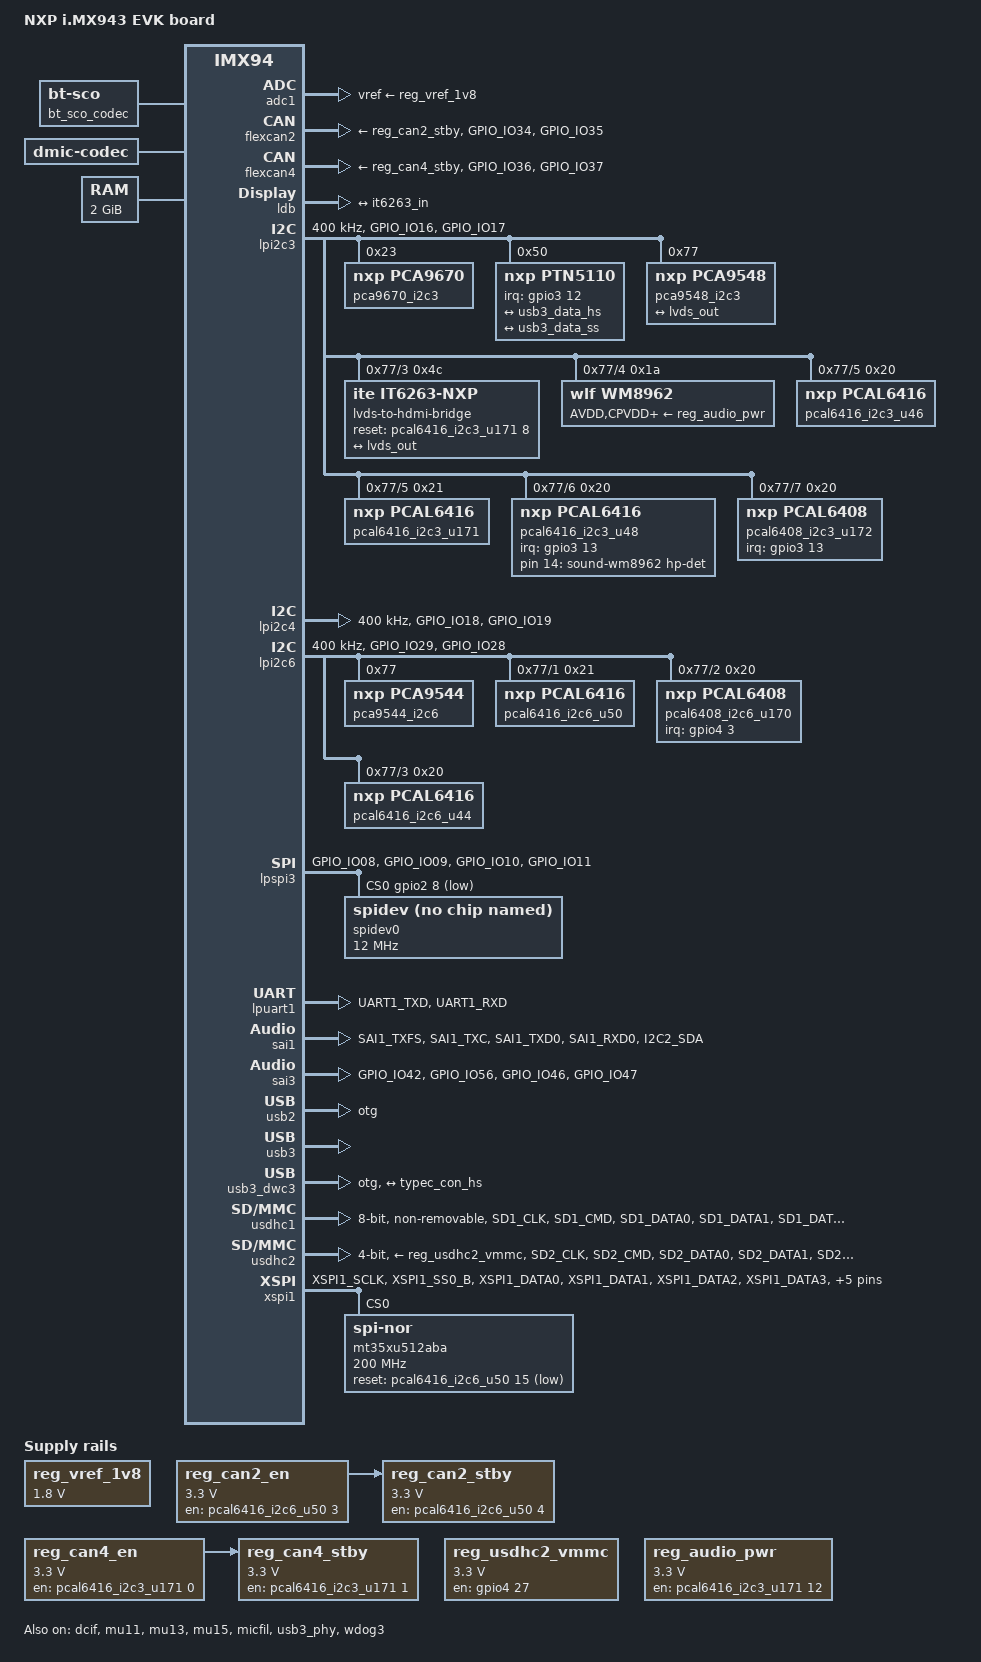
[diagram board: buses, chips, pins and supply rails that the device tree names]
// SPDX-License-Identifier: (GPL-2.0+ OR MIT)
/*
 * Copyright 2024-2025 NXP
 */

/dts-v1/;

#include "imx943.dtsi"
#include <dt-bindings/usb/pd.h>

#define BRD_SM_CTRL_BT_WAKE		0x8000  /*!< PCAL6416A-3 */
#define BRD_SM_CTRL_SD3_WAKE		0x8001  /*!< PCAL6416A-4 */
#define BRD_SM_CTRL_PCIE1_WAKE		0x8002  /*!< PCAL6416A-5 */
#define BRD_SM_CTRL_PCIE2_WAKE		0x8003  /*!< PCAL6416A-6 */
#define BRD_SM_CTRL_BUTTON		0x8004  /*!< PCAL6416A-7 */

/ {
	compatible = "fsl,imx943-evk", "fsl,imx94";
	model = "NXP i.MX943 EVK board";

	aliases {
		i2c2 = &lpi2c3;
		i2c3 = &lpi2c4;
		i2c5 = &lpi2c6;
		mmc0 = &usdhc1;
		mmc1 = &usdhc2;
		serial0 = &lpuart1;
	};

	bt_sco_codec: bt-sco-codec {
		compatible = "linux,bt-sco";
		#sound-dai-cells = <1>;
	};

	chosen {
		stdout-path = &lpuart1;
	};

	cm70: imx943-cm70 {
		compatible = "fsl,imx94-cm7";
		mbox-names = "tx", "rx", "rxdb";
		mboxes = <&mu11 0 1
			  &mu11 1 1
			  &mu11 3 1>;
		memory-region = <&cm70_vdevbuffer>, <&cm70_vdev0vring0>, <&cm70_vdev0vring1>,
				<&cm70_vdev1vring0>, <&cm70_vdev1vring1>, <&cm70_rsc_table>;
		fsl,startup-delay-ms = <50>;
		fsl,core-index = <0x1>;
		/* cpuid and lmmid must align with SM firmware */
		fsl,cpu-id = <1>;
		fsl,lmm-id = <2>;
		status = "okay";
	};

	cm71: imx943-cm71 {
		compatible = "fsl,imx94-cm7";
		mbox-names = "tx", "rx", "rxdb";
		mboxes = <&mu13 0 1
			  &mu13 1 1
			  &mu13 3 1>;
		memory-region = <&cm71_vdevbuffer>, <&cm71_vdev0vring0>, <&cm71_vdev0vring1>,
				<&cm71_vdev1vring0>, <&cm71_vdev1vring1>, <&cm71_rsc_table>;
		fsl,startup-delay-ms = <50>;
		fsl,core-index = <0x7>;
		/* cpuid and lmmid must align with SM firmware */
		fsl,cpu-id = <7>;
		fsl,lmm-id = <3>;
		status = "okay";
	};

	cm33s: imx943-cm33s {
		compatible = "fsl,imx94-cm33s";
		mbox-names = "tx", "rx", "rxdb";
		mboxes = <&mu15 0 1
			  &mu15 1 1
			  &mu15 3 1>;
		memory-region = <&cm33s_vdevbuffer>, <&cm33s_vdev0vring0>, <&cm33s_vdev0vring1>,
				<&cm33s_vdev1vring0>, <&cm33s_vdev1vring1>, <&cm33s_rsc_table>;
		fsl,startup-delay-ms = <50>;
		/* cpuid and lmmid must align with SM firmware */
		fsl,cpu-id = <8>;
		fsl,lmm-id = <1>;
		status = "okay";
	};

	dmic: dmic {
		compatible = "dmic-codec";
		#sound-dai-cells = <0>;
	};

	reg_vref_1v8: regulator-adc-vref {
		compatible = "regulator-fixed";
		regulator-max-microvolt = <1800000>;
		regulator-min-microvolt = <1800000>;
		regulator-name = "vref_1v8";
	};

	reg_can2_en: regulator-can2-en {
		compatible = "regulator-fixed";
		regulator-max-microvolt = <3300000>;
		regulator-min-microvolt = <3300000>;
		regulator-name = "can2-en";
		gpio = <&pcal6416_i2c6_u50 3 GPIO_ACTIVE_HIGH>;
		enable-active-high;
	};

	reg_can2_stby: regulator-can2-stby {
		compatible = "regulator-fixed";
		regulator-max-microvolt = <3300000>;
		regulator-min-microvolt = <3300000>;
		regulator-name = "can2-stby";
		vin-supply = <&reg_can2_en>;
		gpio = <&pcal6416_i2c6_u50 4 GPIO_ACTIVE_HIGH>;
		enable-active-high;
	};

	reg_can4_en: regulator-can4-en {
		compatible = "regulator-fixed";
		regulator-max-microvolt = <3300000>;
		regulator-min-microvolt = <3300000>;
		regulator-name = "can4-en";
		gpio = <&pcal6416_i2c3_u171 0 GPIO_ACTIVE_HIGH>;
		enable-active-high;
	};

	reg_can4_stby: regulator-can4-stby {
		compatible = "regulator-fixed";
		regulator-max-microvolt = <3300000>;
		regulator-min-microvolt = <3300000>;
		regulator-name = "can4-stby";
		vin-supply = <&reg_can4_en>;
		gpio = <&pcal6416_i2c3_u171 1 GPIO_ACTIVE_HIGH>;
		enable-active-high;
	};

	reg_usdhc2_vmmc: regulator-usdhc2 {
		compatible = "regulator-fixed";
		off-on-delay-us = <12000>;
		pinctrl-0 = <&pinctrl_reg_usdhc2_vmmc>;
		pinctrl-names = "default";
		regulator-max-microvolt = <3300000>;
		regulator-min-microvolt = <3300000>;
		regulator-name = "VDD_SD2_3V3";
		gpio = <&gpio4 27 GPIO_ACTIVE_HIGH>;
		enable-active-high;
	};

	reg_audio_pwr: regulator-wm8962-pwr {
		compatible = "regulator-fixed";
		regulator-max-microvolt = <3300000>;
		regulator-min-microvolt = <3300000>;
		regulator-name = "audio-pwr";
		gpio = <&pcal6416_i2c3_u171 12 GPIO_ACTIVE_HIGH>;
		enable-active-high;
	};

	reserved-memory {
		ranges;
		#address-cells = <2>;
		#size-cells = <2>;

		linux,cma {
			compatible = "shared-dma-pool";
			alloc-ranges = <0 0x80000000 0 0x7f000000>;
			reusable;
			size = <0 0x10000000>;
			linux,cma-default;
		};

		cm70_vdev0vring0: vdev0vring0@82000000 {
			reg = <0 0x82000000 0 0x8000>;
			no-map;
		};

		cm70_vdev0vring1: vdev0vring1@82008000 {
			reg = <0 0x82008000 0 0x8000>;
			no-map;
		};

		cm70_vdev1vring0: vdev1vring0@82010000 {
			reg = <0 0x82010000 0 0x8000>;
			no-map;
		};

		cm70_vdev1vring1: vdev1vring1@82018000 {
			reg = <0 0x82018000 0 0x8000>;
			no-map;
		};

		cm70_rsc_table: rsc-table@82220000 {
			reg = <0 0x82220000 0 0x1000>;
			no-map;
		};

		cm70_vdevbuffer: vdevbuffer@82020000 {
			compatible = "shared-dma-pool";
			reg = <0 0x82020000 0 0x100000>;
			no-map;
		};

		cm71_vdev0vring0: vdev0vring0@84000000 {
			reg = <0 0x84000000 0 0x8000>;
			no-map;
		};

		cm71_vdev0vring1: vdev0vring1@84008000 {
			reg = <0 0x84008000 0 0x8000>;
			no-map;
		};

		cm71_vdev1vring0: vdev1vring0@84010000 {
			reg = <0 0x84010000 0 0x8000>;
			no-map;
		};

		cm71_vdev1vring1: vdev1vring1@84018000 {
			reg = <0 0x84018000 0 0x8000>;
			no-map;
		};

		cm71_rsc_table: rsc-table@84220000 {
			reg = <0 0x84220000 0 0x1000>;
			no-map;
		};

		cm71_vdevbuffer: vdevbuffer@84020000 {
			compatible = "shared-dma-pool";
			reg = <0 0x84020000 0 0x100000>;
			no-map;
		};

		cm33s_vdev0vring0: vdev0vring0@20800000 {
			reg = <0 0x20800000 0 0x8000>;
			no-map;
		};

		cm33s_vdev0vring1: vdev0vring1@20808000 {
			reg = <0 0x20808000 0 0x8000>;
			no-map;
		};

		cm33s_vdev1vring0: vdev1vring0@20810000 {
			reg = <0 0x20810000 0 0x8000>;
			no-map;
		};

		cm33s_vdev1vring1: vdev1vring1@20818000 {
			reg = <0 0x20818000 0 0x8000>;
			no-map;
		};

		cm33s_rsc_table: rsc-table@208a0000 {
			reg = <0 0x208a0000 0 0x1000>;
			no-map;
		};

		cm33s_vdevbuffer: vdevbuffer@20820000 {
			compatible = "shared-dma-pool";
			reg = <0 0x20820000 0 0x80000>;
			no-map;
		};
	};

	sound-bt-sco {
		compatible = "simple-audio-card";
		simple-audio-card,bitclock-inversion;
		simple-audio-card,bitclock-master = <&btcpu>;
		simple-audio-card,format = "dsp_a";
		simple-audio-card,frame-master = <&btcpu>;
		simple-audio-card,name = "bt-sco-audio";

		simple-audio-card,codec {
			sound-dai = <&bt_sco_codec 1>;
		};

		btcpu: simple-audio-card,cpu {
			dai-tdm-slot-num = <2>;
			dai-tdm-slot-width = <16>;
			sound-dai = <&sai3>;
		};
	};

	sound-micfil {
		compatible = "fsl,imx-audio-card";
		model = "micfil-audio";

		pri-dai-link {
			format = "i2s";
			link-name = "micfil hifi";

			codec {
				sound-dai = <&dmic>;
			};

			cpu {
				sound-dai = <&micfil>;
			};
		};
	};

	sound-wm8962 {
		compatible = "fsl,imx-audio-wm8962";
		audio-codec = <&wm8962>;
		audio-cpu = <&sai1>;
		audio-routing = "Headphone Jack", "HPOUTL",
			"Headphone Jack", "HPOUTR",
			"Ext Spk", "SPKOUTL",
			"Ext Spk", "SPKOUTR",
			"AMIC", "MICBIAS",
			"IN3R", "AMIC",
			"IN1R", "AMIC";
		hp-det-gpio = <&pcal6416_i2c3_u48 14 GPIO_ACTIVE_HIGH>;
		model = "wm8962-audio";
	};

	memory@80000000 {
		reg = <0x0 0x80000000 0x0 0x80000000>;
		device_type = "memory";
	};
};

&adc1 {
	vref-supply = <&reg_vref_1v8>;
	status = "okay";
};

&dcif {
	status = "okay";
};

&flexcan2 {
	pinctrl-0 = <&pinctrl_flexcan2>;
	pinctrl-names = "default";
	xceiver-supply = <&reg_can2_stby>;
	status = "okay";
};

&flexcan4 {
	pinctrl-0 = <&pinctrl_flexcan4>;
	pinctrl-names = "default";
	xceiver-supply = <&reg_can4_stby>;
	status = "okay";
};

&ldb {
	#address-cells = <1>;
	#size-cells = <0>;
	assigned-clocks = <&scmi_clk IMX94_CLK_LDBPLL_VCO>,
			  <&scmi_clk IMX94_CLK_LDBPLL>;
	assigned-clock-rates = <4158000000>, <1039500000>;
	status = "okay";

	ports {
		#address-cells = <1>;
		#size-cells = <0>;

		port@1 {
			reg = <1>;

			lvds_out: endpoint {
				remote-endpoint = <&it6263_in>;
			};
		};
	};
};

&lpi2c3 {
	clock-frequency = <400000>;
	pinctrl-0 = <&pinctrl_lpi2c3>;
	pinctrl-names = "default";
	status = "okay";

	pca9670_i2c3: gpio@23 {
		compatible = "nxp,pca9670";
		reg = <0x23>;
		#gpio-cells = <2>;
		gpio-controller;
	};

	ptn5110: tcpc@50 {
		compatible = "nxp,ptn5110", "tcpci";
		reg = <0x50>;
		interrupt-parent = <&gpio3>;
		interrupts = <12 IRQ_TYPE_LEVEL_LOW>;
		pinctrl-names = "default";
		pinctrl-0 = <&pinctrl_typec>;

		typec_con: connector {
			compatible = "usb-c-connector";
			label = "USB-C";
			power-role = "dual";
			data-role = "dual";
			try-power-role = "sink";
			source-pdos = <PDO_FIXED(5000, 3000, PDO_FIXED_USB_COMM)>;
			sink-pdos = <PDO_FIXED(5000, 0, PDO_FIXED_USB_COMM)>;
			op-sink-microwatt = <0>;
			self-powered;

			ports {
				#address-cells = <1>;
				#size-cells = <0>;

				port@0 {
					reg = <0>;

					typec_con_hs: endpoint {
						remote-endpoint = <&usb3_data_hs>;
					};
				};

				port@1 {
					reg = <1>;

					typec_con_ss: endpoint {
						remote-endpoint = <&usb3_data_ss>;
					};
				};
			};
		};
	};

	pca9548_i2c3: i2c-mux@77 {
		compatible = "nxp,pca9548";
		reg = <0x77>;
		#address-cells = <1>;
		#size-cells = <0>;

		i2c@0 {
			reg = <0>;
			#address-cells = <1>;
			#size-cells = <0>;
		};

		i2c@1 {
			reg = <1>;
			#address-cells = <1>;
			#size-cells = <0>;
		};

		i2c@2 {
			reg = <2>;
			#address-cells = <1>;
			#size-cells = <0>;
		};

		i2c@3 {
			reg = <3>;
			#address-cells = <1>;
			#size-cells = <0>;

			lvds-to-hdmi-bridge@4c {
				compatible = "ite,it6263-nxp";
				reg = <0x4c>;
				reset-gpios = <&pcal6416_i2c3_u171 8 GPIO_ACTIVE_HIGH>;

				port {
					it6263_in: endpoint {
						remote-endpoint = <&lvds_out>;
					};
				};
			};
		};

		i2c@4 {
			reg = <4>;
			#address-cells = <1>;
			#size-cells = <0>;

			wm8962: codec@1a {
				compatible = "wlf,wm8962";
				reg = <0x1a>;
				clocks = <&scmi_clk IMX94_CLK_SAI1>;
				AVDD-supply = <&reg_audio_pwr>;
				CPVDD-supply = <&reg_audio_pwr>;
				DBVDD-supply = <&reg_audio_pwr>;
				DCVDD-supply = <&reg_audio_pwr>;
				gpio-cfg = <
					0x0000 /* 0:Default */
					0x0000 /* 1:Default */
					0x0000 /* 2:FN_DMICCLK */
					0x0000 /* 3:Default */
					0x0000 /* 4:FN_DMICCDAT */
					0x0000 /* 5:Default */
				>;
				MICVDD-supply = <&reg_audio_pwr>;
				PLLVDD-supply = <&reg_audio_pwr>;
				SPKVDD1-supply = <&reg_audio_pwr>;
				SPKVDD2-supply = <&reg_audio_pwr>;
			};

			ptn5150: tcpc@3d {
				compatible = "nxp,ptn5150";
				reg = <0x3d>;
				interrupt-parent = <&pcal6408_i2c3_u172>;
				interrupts = <6 IRQ_TYPE_EDGE_FALLING>;
				status = "disabled";
			};
		};

		i2c@5 {
			reg = <5>;
			#address-cells = <1>;
			#size-cells = <0>;

			pcal6416_i2c3_u46: gpio@20 {
				compatible = "nxp,pcal6416";
				reg = <0x20>;
				#gpio-cells = <2>;
				gpio-controller;

				sd-card-on-hog {
					gpios = <13 GPIO_ACTIVE_HIGH>;
					gpio-hog;
					output-high;
				};
			};

			pcal6416_i2c3_u171: gpio@21 {
				compatible = "nxp,pcal6416";
				reg = <0x21>;
				#gpio-cells = <2>;
				gpio-controller;

				audio-pwren-hog {
					gpios = <12 GPIO_ACTIVE_HIGH>;
					gpio-hog;
					output-high;
				};

				mqs-mic-sel-hog {
					gpios = <11 GPIO_ACTIVE_HIGH>;
					gpio-hog;
					output-low;
				};
			};
		};

		i2c@6 {
			reg = <6>;
			#address-cells = <1>;
			#size-cells = <0>;

			pcal6416_i2c3_u48: gpio@20 {
				compatible = "nxp,pcal6416";
				reg = <0x20>;
				#interrupt-cells = <2>;
				interrupt-controller;
				interrupt-parent = <&gpio3>;
				interrupts = <13 IRQ_TYPE_LEVEL_LOW>;
				#gpio-cells = <2>;
				gpio-controller;
				pinctrl-0 = <&pinctrl_ioexpander_int>;
				pinctrl-names = "default";
			};
		};

		i2c@7 {
			reg = <7>;
			#address-cells = <1>;
			#size-cells = <0>;

			pcal6408_i2c3_u172: gpio@20 {
				compatible = "nxp,pcal6408";
				reg = <0x20>;
				#interrupt-cells = <2>;
				interrupt-controller;
				interrupt-parent = <&gpio3>;
				/* shared int pin with u48 */
				interrupts = <13 IRQ_TYPE_LEVEL_LOW>;
				#gpio-cells = <2>;
				gpio-controller;
			};
		};
	};
};

&lpi2c4 {
	clock-frequency = <400000>;
	pinctrl-0 = <&pinctrl_lpi2c4>;
	pinctrl-names = "default";
	status = "okay";
};

&lpi2c6 {
	clock-frequency = <400000>;
	pinctrl-0 = <&pinctrl_lpi2c6>;
	pinctrl-names = "default";
	status = "okay";

	pca9544_i2c6: i2c-mux@77 {
		compatible = "nxp,pca9544";
		reg = <0x77>;
		#address-cells = <1>;
		#size-cells = <0>;

		i2c@0 {
			reg = <0>;
			#address-cells = <1>;
			#size-cells = <0>;
		};

		i2c@1 {
			reg = <1>;
			#address-cells = <1>;
			#size-cells = <0>;

			pcal6416_i2c6_u50: gpio@21 {
				compatible = "nxp,pcal6416";
				reg = <0x21>;
				#gpio-cells = <2>;
				gpio-controller;
			};
		};

		i2c@2 {
			reg = <2>;
			#address-cells = <1>;
			#size-cells = <0>;

			pcal6408_i2c6_u170: gpio@20 {
				compatible = "nxp,pcal6408";
				reg = <0x20>;
				#interrupt-cells = <2>;
				interrupt-controller;
				interrupt-parent = <&gpio4>;
				interrupts = <3 IRQ_TYPE_LEVEL_LOW>;
				#gpio-cells = <2>;
				gpio-controller;
				pinctrl-0 = <&pinctrl_ioexpander_int2>;
				pinctrl-names = "default";
			};
		};

		i2c@3 {
			reg = <3>;
			#address-cells = <1>;
			#size-cells = <0>;

			pcal6416_i2c6_u44: gpio@20 {
				compatible = "nxp,pcal6416";
				reg = <0x20>;
				#gpio-cells = <2>;
				gpio-controller;

				/* pdm selection */
				can-pdm-sel-hog {
					gpios = <12 GPIO_ACTIVE_HIGH>;
					gpio-hog;
					output-low;
				};

				sai3-sel-hog {
					gpios = <11 GPIO_ACTIVE_HIGH>;
					gpio-hog;
					output-high;
				};

				/* eMMC IOMUX selection */
				sd1-sel-hog {
					gpios = <0 GPIO_ACTIVE_HIGH>;
					gpio-hog;
					output-high;
				};

				/* SD card IOMUX selection */
				sd2-sel-hog {
					gpios = <1 GPIO_ACTIVE_HIGH>;
					gpio-hog;
					output-high;
				};
			};
		};
	};
};

&lpspi3 {
	cs-gpios = <&gpio2 8 GPIO_ACTIVE_LOW>;
	num-cs = <2>;
	pinctrl-0 = <&pinctrl_lpspi3>;
	pinctrl-names = "default";
	status = "okay";

	spidev0: spi@0 {
		compatible = "rohm,dh2228fv";
		reg = <0>;
		spi-max-frequency = <12000000>;
	};
};

&lpuart1 {
	pinctrl-0 = <&pinctrl_uart1>;
	pinctrl-names = "default";
	status = "okay";
};

&mu11 {
	status = "okay";
};

&mu13 {
	status = "okay";
};

&mu15 {
	status = "okay";
};

&micfil {
	assigned-clocks = <&scmi_clk IMX94_CLK_AUDIOPLL1_VCO>,
			  <&scmi_clk IMX94_CLK_AUDIOPLL2_VCO>,
			  <&scmi_clk IMX94_CLK_AUDIOPLL1>,
			  <&scmi_clk IMX94_CLK_AUDIOPLL2>,
			  <&scmi_clk IMX94_CLK_PDM>;
	assigned-clock-parents = <0>, <0>, <0>, <0>,
				 <&scmi_clk IMX94_CLK_AUDIOPLL1>;
	assigned-clock-rates = <3932160000>,
			       <3612672000>, <393216000>,
			       <361267200>, <49152000>;
	pinctrl-0 = <&pinctrl_pdm>;
	pinctrl-names = "default";
	status = "okay";
};

&sai1 {
	assigned-clocks = <&scmi_clk IMX94_CLK_AUDIOPLL1_VCO>,
			  <&scmi_clk IMX94_CLK_AUDIOPLL2_VCO>,
			  <&scmi_clk IMX94_CLK_AUDIOPLL1>,
			  <&scmi_clk IMX94_CLK_AUDIOPLL2>,
			  <&scmi_clk IMX94_CLK_SAI1>;
	assigned-clock-parents = <0>, <0>, <0>, <0>,
				 <&scmi_clk IMX94_CLK_AUDIOPLL1>;
	assigned-clock-rates = <3932160000>,
			       <3612672000>, <393216000>,
			       <361267200>, <12288000>;
	pinctrl-0 = <&pinctrl_sai1>;
	pinctrl-names = "default";
	fsl,sai-mclk-direction-output;
	status = "okay";
};

&sai3 {
	assigned-clocks = <&scmi_clk IMX94_CLK_AUDIOPLL1_VCO>,
			  <&scmi_clk IMX94_CLK_AUDIOPLL2_VCO>,
			  <&scmi_clk IMX94_CLK_AUDIOPLL1>,
			  <&scmi_clk IMX94_CLK_AUDIOPLL2>,
			  <&scmi_clk IMX94_CLK_SAI3>;
	assigned-clock-parents = <0>, <0>, <0>, <0>,
				 <&scmi_clk IMX94_CLK_AUDIOPLL1>;
	assigned-clock-rates = <3932160000>,
			       <3612672000>, <393216000>,
			       <361267200>, <12288000>;
	pinctrl-0 = <&pinctrl_sai3>;
	pinctrl-names = "default";
	fsl,sai-mclk-direction-output;
	status = "okay";
};

&scmi_iomuxc {
	pinctrl_flexcan2: flexcan2grp {
		fsl,pins = <
			IMX94_PAD_GPIO_IO34__CAN2_TX		0x39e
			IMX94_PAD_GPIO_IO35__CAN2_RX		0x39e
		>;
	};

	pinctrl_flexcan4: flexcan4grp {
		fsl,pins = <
			IMX94_PAD_GPIO_IO36__CAN4_TX		0x39e
			IMX94_PAD_GPIO_IO37__CAN4_RX		0x39e
		>;
	};

	pinctrl_ioexpander_int2: ioexpanderint2grp {
		fsl,pins = <
			IMX94_PAD_CCM_CLKO4__GPIO4_IO3		0x31e
		>;
	};

	pinctrl_ioexpander_int: ioexpanderintgrp {
		fsl,pins = <
			IMX94_PAD_GPIO_IO45__GPIO3_IO13		0x31e
		>;
	};

	pinctrl_lpi2c3: lpi2c3grp {
		fsl,pins = <
			IMX94_PAD_GPIO_IO16__LPI2C3_SDA		0x40000b9e
			IMX94_PAD_GPIO_IO17__LPI2C3_SCL		0x40000b9e
		>;
	};

	pinctrl_lpi2c4: lpi2c4grp {
		fsl,pins = <
			IMX94_PAD_GPIO_IO18__LPI2C4_SDA		0x40000b9e
			IMX94_PAD_GPIO_IO19__LPI2C4_SCL		0x40000b9e
		>;
	};

	pinctrl_lpi2c6: lpi2c6grp {
		fsl,pins = <
			IMX94_PAD_GPIO_IO29__LPI2C6_SDA		0x40000b9e
			IMX94_PAD_GPIO_IO28__LPI2C6_SCL		0x40000b9e
		>;
	};

	pinctrl_lpspi3: lpspi3grp {
		fsl,pins = <
			IMX94_PAD_GPIO_IO08__GPIO2_IO8			0x3fe
			IMX94_PAD_GPIO_IO09__LPSPI3_SIN			0x3fe
			IMX94_PAD_GPIO_IO10__LPSPI3_SOUT		0x3fe
			IMX94_PAD_GPIO_IO11__LPSPI3_SCK			0x3fe
		>;
	};

	pinctrl_mqs1: mqs1grp {
		fsl,pins = <
			IMX94_PAD_PDM_CLK__MQS1_LEFT           0x31e
			IMX94_PAD_PDM_BIT_STREAM0__MQS1_RIGHT  0x31e
		>;
	};

	pinctrl_pdm: pdmgrp {
		fsl,pins = <
			IMX94_PAD_PDM_CLK__PDM_CLK			0x31e
			IMX94_PAD_PDM_BIT_STREAM0__PDM_BIT_STREAM0	0x31e
			IMX94_PAD_PDM_BIT_STREAM1__PDM_BIT_STREAM1	0x31e
		>;
	};

	pinctrl_sai1: sai1grp {
		fsl,pins = <
			IMX94_PAD_SAI1_TXFS__SAI1_TX_SYNC	0x31e
			IMX94_PAD_SAI1_TXC__SAI1_TX_BCLK	0x31e
			IMX94_PAD_SAI1_TXD0__SAI1_TX_DATA0	0x31e
			IMX94_PAD_SAI1_RXD0__SAI1_RX_DATA0	0x31e
			IMX94_PAD_I2C2_SDA__SAI1_MCLK		0x31e
		>;
	};

	pinctrl_sai3: sai3grp {
		fsl,pins = <
			IMX94_PAD_GPIO_IO42__SAI3_TX_BCLK	0x31e
			IMX94_PAD_GPIO_IO56__SAI3_TX_SYNC	0x31e
			IMX94_PAD_GPIO_IO46__SAI3_RX_DATA0	0x31e
			IMX94_PAD_GPIO_IO47__SAI3_TX_DATA0	0x31e
		>;
	};

	pinctrl_typec: typecgrp {
		fsl,pins = <
			IMX94_PAD_GPIO_IO44__GPIO3_IO12		0x31e
		>;
	};

	pinctrl_uart1: uart1grp {
		fsl,pins = <
			IMX94_PAD_UART1_TXD__LPUART1_TX		0x31e
			IMX94_PAD_UART1_RXD__LPUART1_RX		0x31e
		>;
	};

	pinctrl_usdhc1_100mhz: usdhc1-100mhzgrp {
		fsl,pins = <
			IMX94_PAD_SD1_CLK__USDHC1_CLK		0x158e
			IMX94_PAD_SD1_CMD__USDHC1_CMD		0x138e
			IMX94_PAD_SD1_DATA0__USDHC1_DATA0	0x138e
			IMX94_PAD_SD1_DATA1__USDHC1_DATA1	0x138e
			IMX94_PAD_SD1_DATA2__USDHC1_DATA2	0x138e
			IMX94_PAD_SD1_DATA3__USDHC1_DATA3	0x138e
			IMX94_PAD_SD1_DATA4__USDHC1_DATA4	0x138e
			IMX94_PAD_SD1_DATA5__USDHC1_DATA5	0x138e
			IMX94_PAD_SD1_DATA6__USDHC1_DATA6	0x138e
			IMX94_PAD_SD1_DATA7__USDHC1_DATA7	0x138e
			IMX94_PAD_SD1_STROBE__USDHC1_STROBE	0x158e
		>;
	};

	pinctrl_usdhc1_200mhz: usdhc1-200mhzgrp {
		fsl,pins = <
			IMX94_PAD_SD1_CLK__USDHC1_CLK		0x15fe
			IMX94_PAD_SD1_CMD__USDHC1_CMD		0x13fe
			IMX94_PAD_SD1_DATA0__USDHC1_DATA0	0x13fe
			IMX94_PAD_SD1_DATA1__USDHC1_DATA1	0x13fe
			IMX94_PAD_SD1_DATA2__USDHC1_DATA2	0x13fe
			IMX94_PAD_SD1_DATA3__USDHC1_DATA3	0x13fe
			IMX94_PAD_SD1_DATA4__USDHC1_DATA4	0x13fe
			IMX94_PAD_SD1_DATA5__USDHC1_DATA5	0x13fe
			IMX94_PAD_SD1_DATA6__USDHC1_DATA6	0x13fe
			IMX94_PAD_SD1_DATA7__USDHC1_DATA7	0x13fe
			IMX94_PAD_SD1_STROBE__USDHC1_STROBE	0x15fe
		>;
	};

	pinctrl_usdhc1: usdhc1grp {
		fsl,pins = <
			IMX94_PAD_SD1_CLK__USDHC1_CLK		0x158e
			IMX94_PAD_SD1_CMD__USDHC1_CMD		0x138e
			IMX94_PAD_SD1_DATA0__USDHC1_DATA0	0x138e
			IMX94_PAD_SD1_DATA1__USDHC1_DATA1	0x138e
			IMX94_PAD_SD1_DATA2__USDHC1_DATA2	0x138e
			IMX94_PAD_SD1_DATA3__USDHC1_DATA3	0x138e
			IMX94_PAD_SD1_DATA4__USDHC1_DATA4	0x138e
			IMX94_PAD_SD1_DATA5__USDHC1_DATA5	0x138e
			IMX94_PAD_SD1_DATA6__USDHC1_DATA6	0x138e
			IMX94_PAD_SD1_DATA7__USDHC1_DATA7	0x138e
			IMX94_PAD_SD1_STROBE__USDHC1_STROBE	0x158e
		>;
	};

	pinctrl_usdhc2_100mhz: usdhc2-100mhzgrp {
		fsl,pins = <
			IMX94_PAD_SD2_CLK__USDHC2_CLK		0x158e
			IMX94_PAD_SD2_CMD__USDHC2_CMD		0x138e
			IMX94_PAD_SD2_DATA0__USDHC2_DATA0	0x138e
			IMX94_PAD_SD2_DATA1__USDHC2_DATA1	0x138e
			IMX94_PAD_SD2_DATA2__USDHC2_DATA2	0x138e
			IMX94_PAD_SD2_DATA3__USDHC2_DATA3	0x138e
			IMX94_PAD_SD2_VSELECT__USDHC2_VSELECT	0x51e
		>;
	};

	pinctrl_usdhc2_200mhz: usdhc2-200mhzgrp {
		fsl,pins = <
			IMX94_PAD_SD2_CLK__USDHC2_CLK		0x15fe
			IMX94_PAD_SD2_CMD__USDHC2_CMD		0x13fe
			IMX94_PAD_SD2_DATA0__USDHC2_DATA0	0x13fe
			IMX94_PAD_SD2_DATA1__USDHC2_DATA1	0x13fe
			IMX94_PAD_SD2_DATA2__USDHC2_DATA2	0x13fe
			IMX94_PAD_SD2_DATA3__USDHC2_DATA3	0x13fe
			IMX94_PAD_SD2_VSELECT__USDHC2_VSELECT	0x51e
		>;
	};

	pinctrl_usdhc2_gpio: usdhc2gpiogrp {
		fsl,pins = <
			IMX94_PAD_SD2_CD_B__GPIO4_IO20		0x31e
		>;
	};

	pinctrl_usdhc2: usdhc2grp {
		fsl,pins = <
			IMX94_PAD_SD2_CLK__USDHC2_CLK		0x158e
			IMX94_PAD_SD2_CMD__USDHC2_CMD		0x138e
			IMX94_PAD_SD2_DATA0__USDHC2_DATA0	0x138e
			IMX94_PAD_SD2_DATA1__USDHC2_DATA1	0x138e
			IMX94_PAD_SD2_DATA2__USDHC2_DATA2	0x138e
			IMX94_PAD_SD2_DATA3__USDHC2_DATA3	0x138e
			IMX94_PAD_SD2_VSELECT__USDHC2_VSELECT	0x51e
		>;
	};

	pinctrl_reg_usdhc2_vmmc: usdhc2regvmmcgrp {
		fsl,pins = <
			IMX94_PAD_SD2_RESET_B__GPIO4_IO27	0x31e
		>;
	};

	pinctrl_xspi1: xspi1grp {
		fsl,pins = <
			IMX94_PAD_XSPI1_SCLK__XSPI1_A_SCLK	0x3fe
			IMX94_PAD_XSPI1_SS0_B__XSPI1_A_SS0_B	0x3fe
			IMX94_PAD_XSPI1_DATA0__XSPI1_A_DATA0	0x3fe
			IMX94_PAD_XSPI1_DATA1__XSPI1_A_DATA1	0x3fe
			IMX94_PAD_XSPI1_DATA2__XSPI1_A_DATA2	0x3fe
			IMX94_PAD_XSPI1_DATA3__XSPI1_A_DATA3	0x3fe
			IMX94_PAD_XSPI1_DATA4__XSPI1_A_DATA4	0x3fe
			IMX94_PAD_XSPI1_DATA5__XSPI1_A_DATA5	0x3fe
			IMX94_PAD_XSPI1_DATA6__XSPI1_A_DATA6	0x3fe
			IMX94_PAD_XSPI1_DATA7__XSPI1_A_DATA7	0x3fe
			IMX94_PAD_XSPI1_DQS__XSPI1_A_DQS	0x3fe
		>;
	};
};

&scmi_misc {
	nxp,ctrl-ids = <BRD_SM_CTRL_SD3_WAKE		1
			BRD_SM_CTRL_PCIE1_WAKE		1
			BRD_SM_CTRL_BT_WAKE		1
			BRD_SM_CTRL_PCIE2_WAKE		1
			BRD_SM_CTRL_BUTTON		1>;
};

&usb2 {
	dr_mode = "otg";
	disable-over-current;
	adp-disable;
	hnp-disable;
	srp-disable;
	status = "okay";
};

&usb3 {
	status = "okay";
};

&usb3_dwc3 {
	dr_mode = "otg";
	adp-disable;
	hnp-disable;
	srp-disable;
	usb-role-switch;
	snps,dis-u1-entry-quirk;
	snps,dis-u2-entry-quirk;
	status = "okay";

	port {
		usb3_data_hs: endpoint {
			remote-endpoint = <&typec_con_hs>;
		};
	};
};

&usb3_phy {
	orientation-switch;
	status = "okay";

	port {
		usb3_data_ss: endpoint {
			remote-endpoint = <&typec_con_ss>;
		};
	};
};

&usdhc1 {
	pinctrl-0 = <&pinctrl_usdhc1>;
	pinctrl-1 = <&pinctrl_usdhc1_100mhz>;
	pinctrl-2 = <&pinctrl_usdhc1_200mhz>;
	pinctrl-names = "default", "state_100mhz", "state_200mhz";
	bus-width = <8>;
	non-removable;
	no-sdio;
	no-sd;
	status = "okay";
};

&usdhc2 {
	pinctrl-0 = <&pinctrl_usdhc2>, <&pinctrl_usdhc2_gpio>;
	pinctrl-1 = <&pinctrl_usdhc2_100mhz>, <&pinctrl_usdhc2_gpio>;
	pinctrl-2 = <&pinctrl_usdhc2_200mhz>, <&pinctrl_usdhc2_gpio>;
	pinctrl-names = "default", "state_100mhz", "state_200mhz";
	bus-width = <4>;
	no-mmc;
	no-sdio;
	cd-gpios = <&gpio4 20 GPIO_ACTIVE_LOW>;
	vmmc-supply = <&reg_usdhc2_vmmc>;
	status = "okay";
};

&wdog3 {
	fsl,ext-reset-output;
	status = "okay";
};

&xspi1 {
	pinctrl-0 = <&pinctrl_xspi1>;
	pinctrl-1 = <&pinctrl_xspi1>;
	pinctrl-names = "default", "sleep";
	status = "okay";

	mt35xu512aba: flash@0 {
		compatible = "jedec,spi-nor";
		reg = <0>;
		reset-gpios = <&pcal6416_i2c6_u50 15 (GPIO_ACTIVE_LOW | GPIO_OPEN_DRAIN)>;
		#address-cells = <1>;
		#size-cells = <1>;
		spi-max-frequency = <200000000>;
		spi-rx-bus-width = <8>;
		spi-tx-bus-width = <8>;
	};
};
